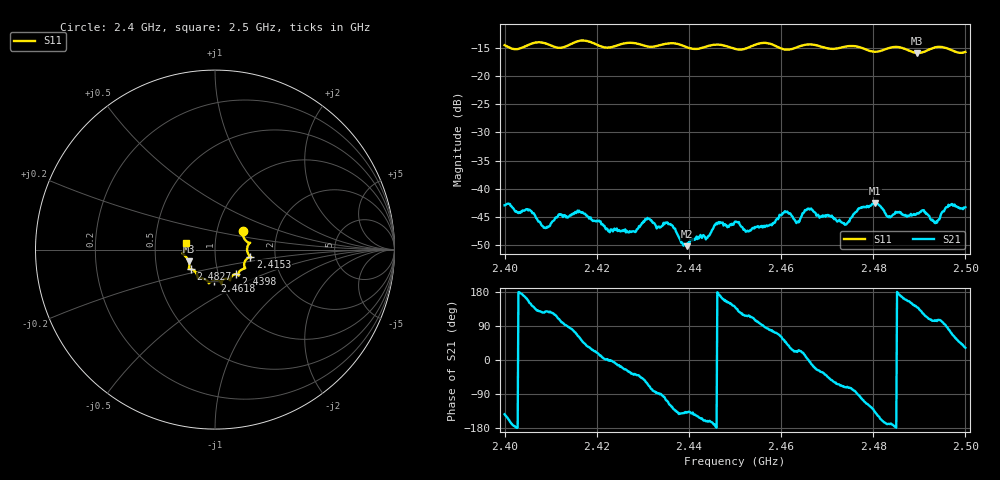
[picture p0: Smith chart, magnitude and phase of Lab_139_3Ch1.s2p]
# Hz S RI R 50
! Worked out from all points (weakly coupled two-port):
!   601 points, 2.4 GHz to 2.5 GHz, reference 50 ohm
!   highest |S21| = -42.51 dB at 2.4803 GHz (marker M1); lowest = -50.2 dB at 2.4395 GHz (marker M2)
!   lowest |S11| = -15.9 dB at 2.4895 GHz (marker M3), VSWR 1.38, Z = 37 - j5.02 ohm
!   |S11| at or under -10 dB: start of sweep to end of sweep
!   S12 and S22 are empty: the file has one direction only
!   S11 on the Smith chart (normalised r, x): 2.4 GHz: 1.33, +0.29; 2.4153 GHz: 1.48, -0.12; 2.4398 GHz: 1.21, -0.34; 2.4618 GHz: 0.94, -0.33; 2.4827 GHz: 0.75, -0.17; 2.5 GHz: 0.72, +0.06
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2.4e9  0.1551 0.1063  -0.0057 -0.00428  0 0  0 0
2.408833e9  0.1925 0.0355  -0.00275 0.00353  0 0  0 0
2.415333e9  0.1965 -0.0392  0.00182 0.00596  0 0  0 0
2.416667e9  0.2025 -0.0433  0.00372 0.00486  0 0  0 0
2.423e9  0.163 -0.0763  0.00435 -5.63e-05  0 0  0 0
2.433333e9  0.1302 -0.1337  0.000189 -0.00461  0 0  0 0
2.435833e9  0.1318 -0.1449  -0.00228 -0.00427  0 0  0 0
2.4395e9  0.1189 -0.1365  -0.00234 -0.00202  0 0  0 0
2.439833e9  0.1158 -0.1363  -0.00239 -0.00219  0 0  0 0
2.45e9  0.0647 -0.1621  -0.0039 0.0033  0 0  0 0
2.452833e9  0.0386 -0.1745  -0.00187 0.00375  0 0  0 0
2.461833e9  -0.00323 -0.1724  0.005 0.0034  0 0  0 0
2.4635e9  -0.0236 -0.1793  0.00476 0.00184  0 0  0 0
2.466667e9  -0.0344 -0.1879  0.00641 -0.00134  0 0  0 0
2.474e9  -0.0884 -0.1604  0.0015 -0.00458  0 0  0 0
2.480333e9  -0.1124 -0.1201  -0.00544 -0.00515  0 0  0 0
2.482667e9  -0.1351 -0.1091  -0.00586 -0.00138  0 0  0 0
2.483333e9  -0.1402 -0.1085  -0.00548 -0.00114  0 0  0 0
2.4895e9  -0.146 -0.0661  -0.00456 0.00398  0 0  0 0
2.4935e9  -0.1789 -0.0241  -0.00127 0.00479  0 0  0 0
2.496667e9  -0.1721 -0.0108  0.00176 0.00693  0 0  0 0
2.5e9  -0.1596 0.0384  0.0058 0.00365  0 0  0 0
